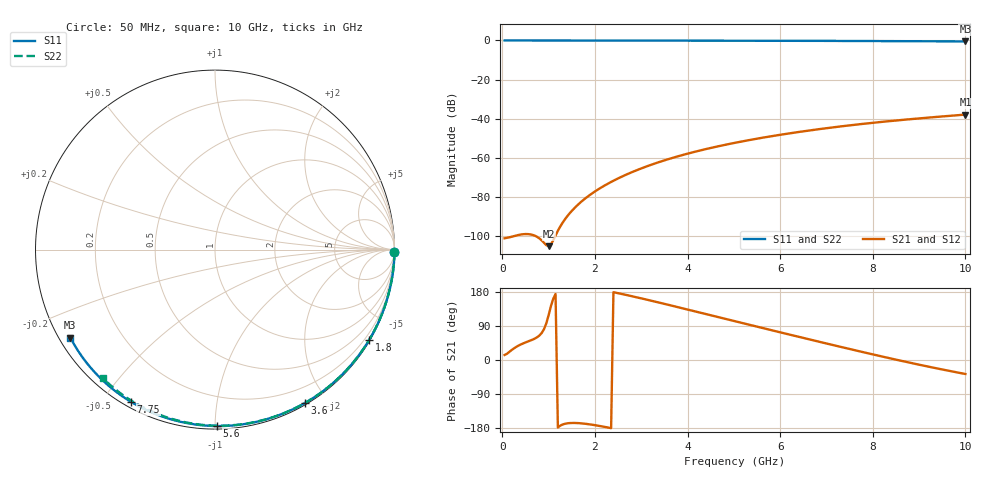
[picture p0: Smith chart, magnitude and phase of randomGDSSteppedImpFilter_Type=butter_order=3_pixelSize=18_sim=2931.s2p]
! freq	dB(S11)	phase(S11)	dB(S12)	phase(S12)
!  dB(S21)	phase(S21)	dB(S22)	phase(S22)
!S-par simulation data
#  GHz  S  DB  R 50
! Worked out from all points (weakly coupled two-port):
!   200 points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, 50 MHz to 10 GHz, reference 50 ohm
!   highest |S21| = -37.82 dB at 10 GHz (marker M1); lowest = -104.9 dB at 1 GHz (marker M2)
!   lowest |S11| = -0.5 dB at 10 GHz (marker M3), VSWR 34.29, Z = 1.57 - j14 ohm
!   |S11| at or under -10 dB: nowhere
!   |S22| runs from -0.4 to 0.0 dB; largest |S21 - S12| = 0
!   S11 on the Smith chart (normalised r, x): 50 MHz: open; 1.8 GHz: 0.03, -3.66; 3.6 GHz: 0.02, -1.75; 5.6 GHz: 0.02, -1.01; 7.75 GHz: 0.02, -0.59; 10 GHz: 0.03, -0.28
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0.05  -0.00 -0.9  -100.91 13.2  -100.91 13.2  -0.00 -0.8
0.5  -0.01 -8.6  -98.76 46.3  -98.76 46.3  -0.01 -7.6
1  -0.02 -17.1  -104.94 118.1  -104.94 118.1  -0.02 -15.1
1.75  -0.04 -29.7  -81.38 -167.7  -81.38 -167.7  -0.03 -26.2
1.8  -0.04 -30.5  -80.43 -168.4  -80.43 -168.4  -0.03 -26.9
1.85  -0.04 -31.4  -79.53 -169.2  -79.53 -169.2  -0.04 -27.6
2.05  -0.04 -34.7  -76.27 -173.0  -76.27 -173.0  -0.04 -30.6
2.2  -0.05 -37.1  -74.13 -176.3  -74.13 -176.3  -0.04 -32.7
2.55  -0.05 -42.8  -69.81 175.1  -69.81 175.1  -0.05 -37.8
2.95  -0.06 -49.3  -65.74 164.1  -65.74 164.1  -0.06 -43.5
3.4  -0.07 -56.4  -61.93 151.1  -61.93 151.1  -0.07 -49.8
3.6  -0.08 -59.5  -60.44 145.2  -60.44 145.2  -0.07 -52.6
4.3  -0.10 -70.2  -55.95 124.2  -55.95 124.2  -0.09 -62.2
5.05  -0.12 -81.3  -52.09 101.5  -52.09 101.5  -0.11 -72.1
5.6  -0.15 -89.3  -49.69 85.0  -49.69 85.0  -0.13 -79.2
6.15  -0.17 -97.0  -47.58 68.6  -47.58 68.6  -0.15 -86.1
6.7  -0.20 -104.6  -45.70 52.3  -45.70 52.3  -0.18 -92.9
7.2  -0.23 -111.4  -44.16 37.7  -44.16 37.7  -0.21 -99.0
7.75  -0.27 -118.8  -42.65 21.9  -42.65 21.9  -0.24 -105.5
8.35  -0.32 -126.7  -41.18 5.0  -41.18 5.0  -0.29 -112.5
9.2  -0.41 -138.0  -39.36 -17.5  -39.36 -17.5  -0.36 -122.2
10  -0.51 -148.7  -37.82 -36.9  -37.82 -36.9  -0.45 -131.3
